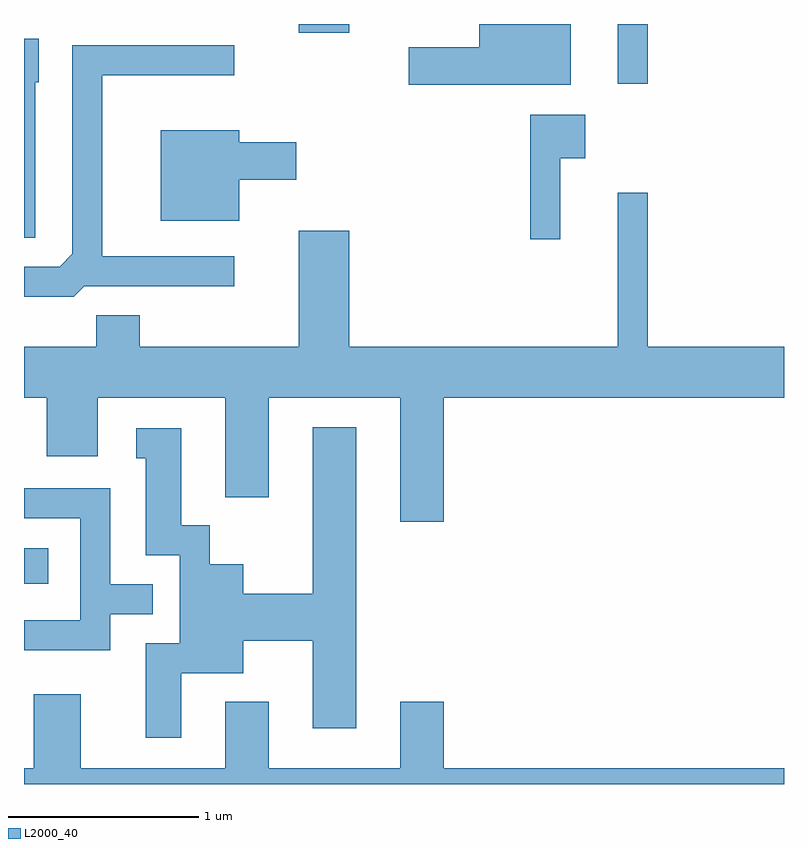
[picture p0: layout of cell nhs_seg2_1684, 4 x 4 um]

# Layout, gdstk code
import gdstk
lib = gdstk.Library(unit=1e-6, precision=1e-09)
def R(c, l, rs):  # rectangles x0, y0, x1, y1
    for r in rs: c.add(gdstk.rectangle(r[:2], r[2:], *l))
def P(c, l, *ps):  # polygons
    for p in ps: c.add(gdstk.Polygon(p, *l))
L2000_40 = (2000, 40)

nhs_seg2_1684 = lib.new_cell('nhs_seg2_1684')
R(nhs_seg2_1684, L2000_40, [(233.611,1082.856,233.739,1083.044), (236.736,1085.488,236.894,1085.802), (235.056,1085.756,235.324,1085.802)])
P(nhs_seg2_1684, L2000_40, [(236.489,1085.802),(236.006,1085.802),(236.006,1085.679),(235.636,1085.679),(235.636,1085.481),(236.489,1085.481)],
  [(233.669,1085.496),(233.689,1085.496),(233.689,1085.724),(233.611,1085.724),(233.611,1084.676),(233.669,1084.676)],
  [(233.927,1084.421),(234.718,1084.421),(234.718,1084.579),(234.024,1084.579),(234.024,1085.531),(234.718,1085.531),(234.718,1085.689),(233.866,1085.689),(233.866,1084.592),(233.799,1084.524),(233.611,1084.524),(233.611,1084.366),(233.872,1084.366)],
  [(236.434,1085.096),(236.564,1085.096),(236.564,1085.324),(236.276,1085.324),(236.276,1084.668),(236.434,1084.668)],
  [(234.744,1084.981),(235.044,1084.981),(235.044,1085.179),(234.744,1085.179),(234.744,1085.244),(234.331,1085.244),(234.331,1084.766),(234.744,1084.766)],
  [(235.819,1083.836),(237.611,1083.836),(237.611,1084.104),(236.894,1084.104),(236.894,1084.913),(236.736,1084.913),(236.736,1084.104),(235.324,1084.104),(235.324,1084.714),(235.056,1084.714),(235.056,1084.104),(234.219,1084.104),(234.219,1084.269),(233.991,1084.269),(233.991,1084.104),(233.611,1084.104),(233.611,1083.836),(233.731,1083.836),(233.731,1083.526),(233.999,1083.526),(233.999,1083.836),(234.671,1083.836),(234.671,1083.311),(234.899,1083.311),(234.899,1083.836),(235.591,1083.836),(235.591,1083.181),(235.819,1083.181)],
  [(234.439,1082.386),(234.764,1082.386),(234.764,1082.556),(235.131,1082.556),(235.131,1082.096),(235.359,1082.096),(235.359,1083.679),(235.131,1083.679),(235.131,1082.804),(234.764,1082.804),(234.764,1082.959),(234.589,1082.959),(234.589,1083.164),(234.439,1083.164),(234.439,1083.674),(234.203,1083.674),(234.203,1083.516),(234.251,1083.516),(234.251,1083.006),(234.431,1083.006),(234.431,1082.544),(234.251,1082.544),(234.251,1082.046),(234.439,1082.046)],
  [(234.064,1082.696),(234.288,1082.696),(234.288,1082.854),(234.064,1082.854),(234.064,1083.359),(233.611,1083.359),(233.611,1083.201),(233.906,1083.201),(233.906,1082.664),(233.611,1082.664),(233.611,1082.506),(234.064,1082.506)],
  [(235.819,1082.234),(235.591,1082.234),(235.591,1081.884),(234.899,1081.884),(234.899,1082.234),(234.671,1082.234),(234.671,1081.884),(233.909,1081.884),(233.909,1082.274),(233.661,1082.274),(233.661,1081.884),(233.611,1081.884),(233.611,1081.802),(237.611,1081.802),(237.611,1081.884),(235.819,1081.884)])

lib.write_gds('nhs_seg2_1684.gds')
